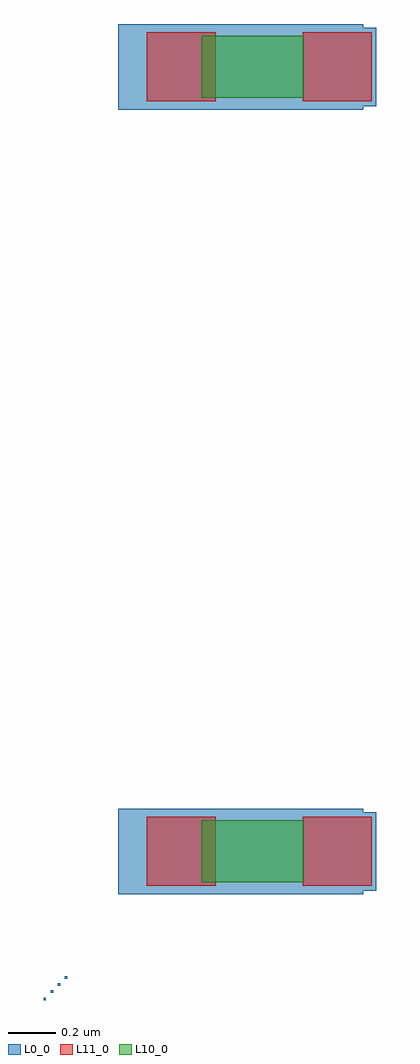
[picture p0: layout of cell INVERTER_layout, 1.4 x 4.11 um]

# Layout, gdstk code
import gdstk
lib = gdstk.Library(unit=1e-6, precision=1e-09)
def R(c, l, rs):  # rectangles x0, y0, x1, y1
    for r in rs: c.add(gdstk.rectangle(r[:2], r[2:], *l))
def P(c, l, *ps):  # polygons
    for p in ps: c.add(gdstk.Polygon(p, *l))
L0_0 = (0, 0)
L10_0 = (10, 0)
L11_0 = (11, 0)

c_m1 = lib.new_cell('M1')
R(c_m1, L0_0, [(-0.18,-0.05,0.85,0.31), (-0.08,-0.035,0.25,0.295), (0.575,-0.035,0.905,0.295), (-0.125,0.005,0.795,0.255), (0,0.045,0.17,0.215), (0.655,0.045,0.825,0.215)])
R(c_m1, L10_0, [(0.17,0,0.6,0.26)])
R(c_m1, L11_0, [(-0.06,-0.015,0.23,0.275), (0.595,-0.015,0.885,0.275)])
P(c_m1, L11_0, [(0,0.13),(0.67,0.13),(0.67,0.13),(0,0.13)])

c_m2 = lib.new_cell('M2')
R(c_m2, L0_0, [(-0.18,-0.05,0.85,0.31), (-0.08,-0.035,0.25,0.295), (0.575,-0.035,0.905,0.295), (-0.125,0.005,0.795,0.255), (0,0.045,0.17,0.215), (0.655,0.045,0.825,0.215)])
R(c_m2, L10_0, [(0.17,0,0.6,0.26)])
R(c_m2, L11_0, [(-0.06,-0.015,0.23,0.275), (0.595,-0.015,0.885,0.275)])
P(c_m2, L11_0, [(0,0.13),(0.67,0.13),(0.67,0.13),(0,0.13)])

inverter_layout = lib.new_cell('INVERTER_layout')
R(inverter_layout, L0_0, [(0.005,0.005,0.015,0.015), (0.035,0.035,0.045,0.045), (0.065,0.065,0.075,0.075), (0.095,0.095,0.105,0.105)])
inverter_layout.add(gdstk.Reference(c_m1, (0.5,0.5)))
inverter_layout.add(gdstk.Reference(c_m2, (0.5,3.8)))

lib.write_gds('INVERTER_layout.gds')
